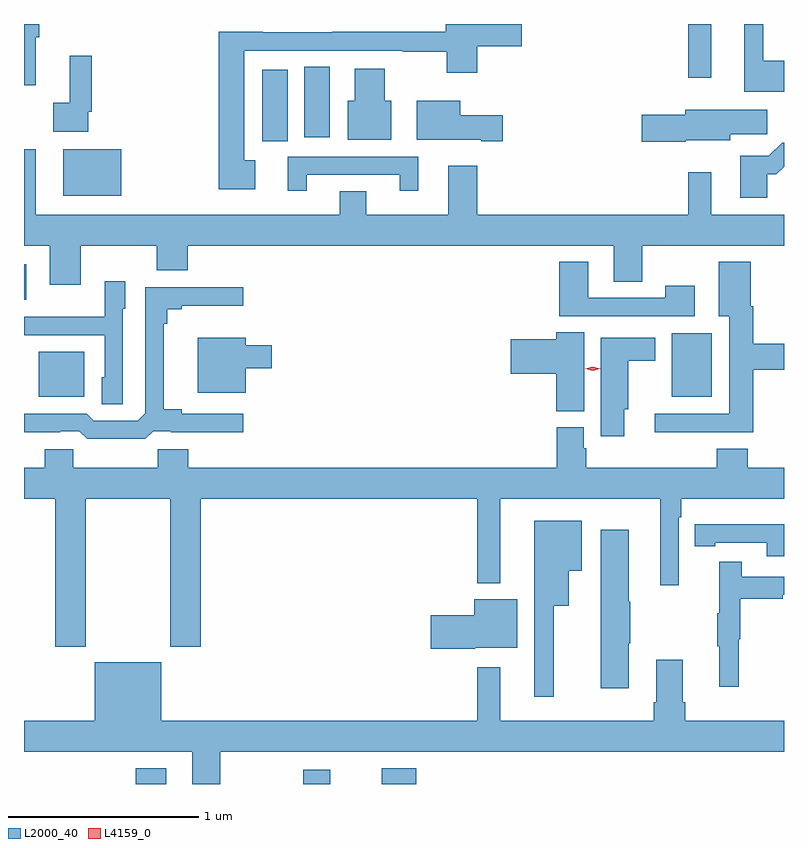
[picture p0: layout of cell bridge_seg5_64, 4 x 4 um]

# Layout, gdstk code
import gdstk
lib = gdstk.Library(unit=1e-6, precision=1e-09)
def R(c, l, rs):  # rectangles x0, y0, x1, y1
    for r in rs: c.add(gdstk.rectangle(r[:2], r[2:], *l))
def P(c, l, *ps):  # polygons
    for p in ps: c.add(gdstk.Polygon(p, *l))
L2000_40 = (2000, 40)
L4159_0 = (4159, 0)

bridge_seg5_64 = lib.new_cell('bridge_seg5_64')
R(bridge_seg5_64, L2000_40, [(274.136,909.871,274.297,909.955), (275.017,909.871,275.161,909.946), (275.43,909.871,275.612,909.955), (273.626,911.909,273.865,912.145), (276.956,911.909,277.168,912.244), (273.548,912.42,273.559,912.607), (273.755,912.968,274.06,913.213), (274.802,913.254,274.936,913.63), (275.024,913.275,275.158,913.646), (277.044,913.587,277.165,913.871)])
P(bridge_seg5_64, L2000_40, [(274.765,913.154),(274.708,913.154),(274.708,913.731),(275.542,913.731),(275.542,913.726),(275.773,913.726),(275.773,913.614),(275.933,913.614),(275.933,913.753),(276.169,913.753),(276.169,913.871),(275.768,913.871),(275.768,913.829),(275.17,913.829),(275.17,913.827),(274.804,913.827),(274.804,913.829),(274.574,913.829),(274.574,913.001),(274.765,913.001)],
  [(273.611,913.8),(273.629,913.8),(273.629,913.871),(273.548,913.871),(273.548,913.548),(273.611,913.548)],
  [(277.548,913.678),(277.438,913.678),(277.438,913.871),(277.34,913.871),(277.34,913.514),(277.548,913.514)],
  [(273.885,913.408),(273.905,913.408),(273.905,913.705),(273.788,913.705),(273.788,913.457),(273.702,913.457),(273.702,913.304),(273.885,913.304)],
  [(275.482,913.468),(275.446,913.468),(275.446,913.636),(275.288,913.636),(275.288,913.468),(275.252,913.468),(275.252,913.262),(275.482,913.262)],
  [(276.067,913.392),(275.845,913.392),(275.845,913.468),(275.615,913.468),(275.615,913.262),(275.954,913.262),(275.954,913.255),(276.067,913.255)],
  [(277.032,913.259),(277.264,913.259),(277.264,913.291),(277.459,913.291),(277.459,913.42),(277.028,913.42),(277.028,913.394),(276.798,913.394),(276.798,913.252),(277.032,913.252)],
  [(277.459,913.079),(277.508,913.079),(277.548,913.119),(277.548,913.247),(277.538,913.247),(277.468,913.177),(277.319,913.177),(277.319,912.957),(277.459,912.957)],
  [(275.933,913.126),(275.78,913.126),(275.78,912.868),(275.35,912.868),(275.35,912.992),(275.21,912.992),(275.21,912.868),(273.61,912.868),(273.61,913.213),(273.548,913.213),(273.548,912.704),(273.683,912.704),(273.683,912.498),(273.847,912.498),(273.847,912.704),(274.247,912.704),(274.247,912.576),(274.411,912.576),(274.411,912.704),(276.653,912.704),(276.653,912.514),(276.801,912.514),(276.801,912.704),(277.548,912.704),(277.548,912.868),(277.165,912.868),(277.165,913.09),(277.044,913.09),(277.044,912.868),(275.933,912.868)],
  [(275.035,913.077),(275.525,913.077),(275.525,912.993),(275.623,912.993),(275.623,913.173),(274.937,913.173),(274.937,912.993),(275.035,912.993)],
  [(277.078,912.493),(276.922,912.493),(276.922,912.429),(276.517,912.429),(276.517,912.619),(276.365,912.619),(276.365,912.333),(277.078,912.333)],
  [(277.385,912.052),(277.548,912.052),(277.548,912.188),(277.385,912.188),(277.385,912.386),(277.372,912.386),(277.372,912.619),(277.205,912.619),(277.205,912.332),(277.259,912.332),(277.259,911.82),(276.867,911.82),(276.867,911.723),(277.385,911.723)],
  [(274.068,912.372),(274.081,912.372),(274.081,912.517),(273.972,912.517),(273.972,912.331),(273.655,912.331),(273.655,912.33),(273.548,912.33),(273.548,912.234),(273.972,912.234),(273.972,912.012),(273.956,912.012),(273.956,911.869),(274.068,911.869)],
  [(274.227,911.727),(274.321,911.727),(274.321,911.723),(274.702,911.723),(274.702,911.82),(274.378,911.82),(274.378,911.843),(274.283,911.843),(274.283,912.293),(274.301,912.293),(274.301,912.37),(274.378,912.37),(274.378,912.389),(274.702,912.389),(274.702,912.486),(274.185,912.486),(274.185,911.823),(274.146,911.784),(273.915,911.784),(273.879,911.82),(273.548,911.82),(273.548,911.723),(273.74,911.723),(273.74,911.727),(273.84,911.727),(273.88,911.688),(274.187,911.688)],
  [(276.496,912.248),(276.35,912.248),(276.35,912.212),(276.111,912.212),(276.111,912.029),(276.35,912.029),(276.35,911.833),(276.496,911.833)],
  [(276.706,911.844),(276.727,911.844),(276.727,912.098),(276.871,912.098),(276.871,912.22),(276.584,912.22),(276.584,911.7),(276.706,911.7)],
  [(274.714,912.059),(274.852,912.059),(274.852,912.181),(274.714,912.181),(274.714,912.22),(274.463,912.22),(274.463,911.93),(274.714,911.93)],
  [(274.412,911.634),(274.252,911.634),(274.252,911.536),(273.807,911.536),(273.807,911.634),(273.656,911.634),(273.656,911.536),(273.548,911.536),(273.548,911.372),(273.713,911.372),(273.713,910.593),(273.873,910.593),(273.873,911.372),(274.318,911.372),(274.318,910.593),(274.478,910.593),(274.478,911.372),(275.934,911.372),(275.934,910.928),(276.055,910.928),(276.055,911.372),(276.896,911.372),(276.896,910.917),(276.993,910.917),(276.993,911.276),(277.007,911.276),(277.007,911.372),(277.548,911.372),(277.548,911.536),(277.358,911.536),(277.358,911.635),(277.193,911.635),(277.193,911.536),(276.506,911.536),(276.506,911.637),(276.493,911.637),(276.493,911.748),(276.353,911.748),(276.353,911.536),(274.412,911.536)],
  [(276.337,910.808),(276.415,910.808),(276.415,910.994),(276.484,910.994),(276.484,911.257),(276.233,911.257),(276.233,910.329),(276.337,910.329)],
  [(277.548,911.239),(277.186,911.239),(277.186,911.238),(277.078,911.238),(277.078,911.122),(277.186,911.122),(277.186,911.142),(277.458,911.142),(277.458,911.07),(277.548,911.07)],
  [(276.73,910.612),(276.738,910.612),(276.738,910.829),(276.73,910.829),(276.73,911.209),(276.584,911.209),(276.584,910.374),(276.73,910.374)],
  [(277.31,910.632),(277.318,910.632),(277.318,910.846),(277.541,910.846),(277.541,910.866),(277.548,910.866),(277.548,910.962),(277.325,910.962),(277.325,911.041),(277.208,911.041),(277.208,910.769),(277.197,910.769),(277.197,910.595),(277.208,910.595),(277.208,910.383),(277.31,910.383)],
  [(275.922,910.589),(276.145,910.589),(276.145,910.843),(275.918,910.843),(275.918,910.76),(275.688,910.76),(275.688,910.582),(275.922,910.582)],
  [(274.581,910.04),(277.548,910.04),(277.548,910.204),(277.028,910.204),(277.028,910.3),(277.015,910.3),(277.015,910.525),(276.875,910.525),(276.875,910.3),(276.863,910.3),(276.863,910.204),(276.055,910.204),(276.055,910.486),(275.934,910.486),(275.934,910.204),(274.27,910.204),(274.27,910.513),(273.92,910.513),(273.92,910.204),(273.548,910.204),(273.548,910.04),(274.433,910.04),(274.433,909.871),(274.581,909.871)])
P(bridge_seg5_64, L4159_0, [(276.542,912.047),(276.502,912.056),(276.502,912.057),(276.502,912.057),(276.541,912.067),(276.581,912.057),(276.581,912.057),(276.581,912.057)])

lib.write_gds('bridge_seg5_64.gds')
